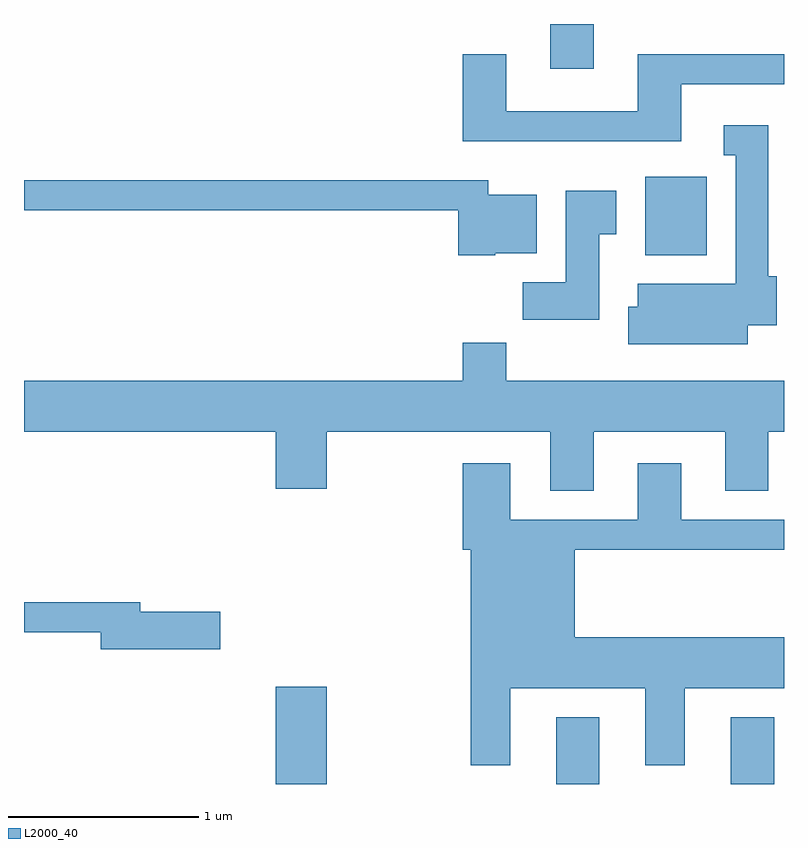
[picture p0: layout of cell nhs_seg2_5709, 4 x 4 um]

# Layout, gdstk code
import gdstk
lib = gdstk.Library(unit=1e-6, precision=1e-09)
def R(c, l, rs):  # rectangles x0, y0, x1, y1
    for r in rs: c.add(gdstk.rectangle(r[:2], r[2:], *l))
def P(c, l, *ps):  # polygons
    for p in ps: c.add(gdstk.Polygon(p, *l))
L2000_40 = (2000, 40)

nhs_seg2_5709 = lib.new_cell('nhs_seg2_5709')
R(nhs_seg2_5709, L2000_40, [(354.936,1039.802,355.204,1040.314), (356.411,1039.802,356.639,1040.154), (357.331,1039.802,357.559,1040.154), (356.881,1042.586,357.204,1042.999), (356.381,1043.566,356.609,1043.802)])
P(nhs_seg2_5709, L2000_40, [(357.069,1043.486),(357.611,1043.486),(357.611,1043.644),(356.841,1043.644),(356.841,1043.344),(356.149,1043.344),(356.149,1043.644),(355.921,1043.644),(355.921,1043.186),(357.069,1043.186)],
  [(357.419,1042.216),(357.574,1042.216),(357.574,1042.474),(357.529,1042.474),(357.529,1043.269),(357.293,1043.269),(357.293,1043.111),(357.356,1043.111),(357.356,1042.434),(356.841,1042.434),(356.841,1042.314),(356.791,1042.314),(356.791,1042.116),(357.419,1042.116)],
  [(356.09,1042.596),(356.309,1042.596),(356.309,1042.904),(356.054,1042.904),(356.054,1042.979),(353.611,1042.979),(353.611,1042.821),(355.896,1042.821),(355.896,1042.586),(356.09,1042.586)],
  [(356.639,1042.696),(356.729,1042.696),(356.729,1042.924),(356.461,1042.924),(356.461,1042.444),(356.236,1042.444),(356.236,1042.246),(356.639,1042.246)],
  [(356.609,1041.656),(357.301,1041.656),(357.301,1041.346),(357.529,1041.346),(357.529,1041.656),(357.611,1041.656),(357.611,1041.924),(356.149,1041.924),(356.149,1042.124),(355.921,1042.124),(355.921,1041.924),(353.611,1041.924),(353.611,1041.656),(354.936,1041.656),(354.936,1041.356),(355.204,1041.356),(355.204,1041.656),(356.381,1041.656),(356.381,1041.346),(356.609,1041.346)],
  [(356.169,1040.306),(356.881,1040.306),(356.881,1039.901),(357.089,1039.901),(357.089,1040.306),(357.611,1040.306),(357.611,1040.574),(356.509,1040.574),(356.509,1041.036),(357.611,1041.036),(357.611,1041.194),(357.069,1041.194),(357.069,1041.489),(356.841,1041.489),(356.841,1041.194),(356.169,1041.194),(356.169,1041.489),(355.921,1041.489),(355.921,1041.036),(355.961,1041.036),(355.961,1039.901),(356.169,1039.901)],
  [(354.644,1040.709),(354.224,1040.709),(354.224,1040.759),(353.611,1040.759),(353.611,1040.601),(354.016,1040.601),(354.016,1040.511),(354.644,1040.511)])

lib.write_gds('nhs_seg2_5709.gds')
